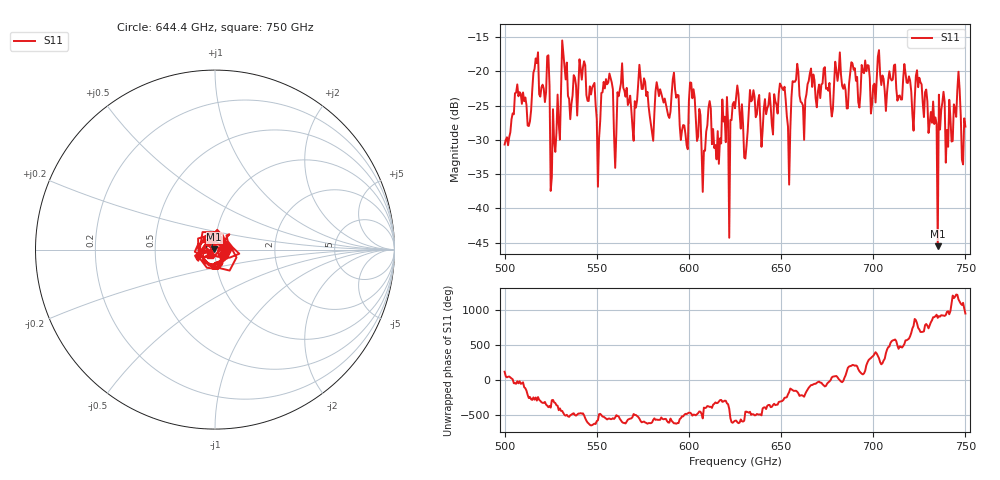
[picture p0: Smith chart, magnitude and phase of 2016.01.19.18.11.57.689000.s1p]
!Created with skrf (http://scikit-rf.org).
# GHz S RI R 50.0
!freq ReS11 ImS11
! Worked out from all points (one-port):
!   401 points, 500 GHz to 750 GHz, reference 50 ohm
!   lowest |S11| = -45.5 dB at 735 GHz (marker M1), VSWR 1.01, Z = 49.5 + j0.154 ohm
!   |S11| at or under -10 dB: start of sweep to end of sweep
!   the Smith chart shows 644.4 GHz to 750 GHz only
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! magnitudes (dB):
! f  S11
! 500 GHz  -30.7
! 506.9 GHz  -21.9
! 513.1 GHz  -28.0
! 516.9 GHz  -18.1
! 523.1 GHz  -17.8
! 526.2 GHz  -25.5
! 531.2 GHz  -15.5
! 542.5 GHz  -19.5
! 550.6 GHz  -36.8
! 553.8 GHz  -21.6
! 560.6 GHz  -29.0
! 562.5 GHz  -22.7
! 593.8 GHz  -23.4
! 598.1 GHz  -29.2
! 601.9 GHz  -23.9
! 608.1 GHz  -31.6
! 622.5 GHz  -27.1
! 625 GHz  -25.4
! 630.6 GHz  -32.7
! 634.4 GHz  -24.2
! 650.6 GHz  -22.5
! 653.8 GHz  -28.1
! 656.2 GHz  -21.5
! 687.5 GHz  -20.3
! 718.8 GHz  -21.7
! 735 GHz  -45.5
! 745.6 GHz  -22.8
! 750 GHz  -28.1
